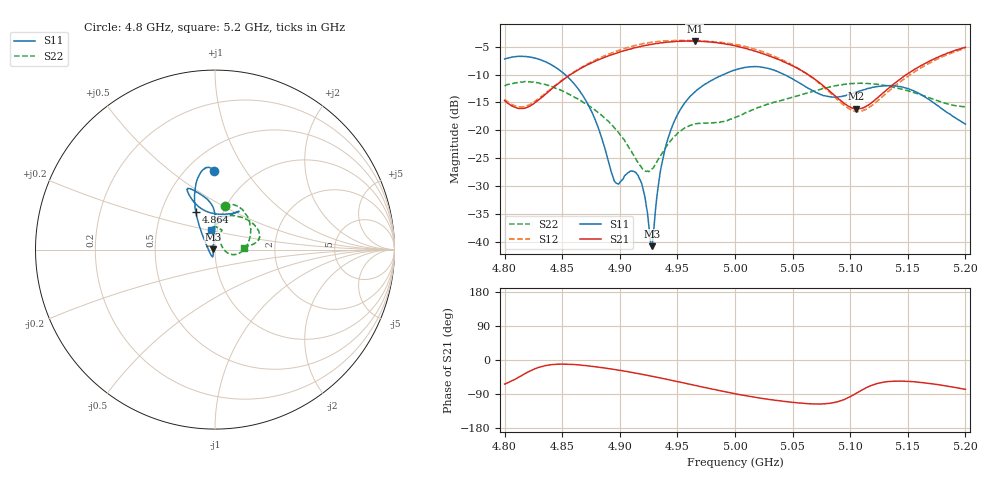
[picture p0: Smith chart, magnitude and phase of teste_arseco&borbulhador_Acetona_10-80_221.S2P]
! Network Analyzer HP8722D
! Hewlett-Packard
! Data name: Linha & Wilkinson
! Saver's name: Rodrigo Anjos
! Comments: Teste da utilização de aquisição
! continua pelo VNA HP8722D
! Time and date: 25/4/2025 17:06
!  Frequency  S11  S21  S12  S22
# HZ  S  MA R 50
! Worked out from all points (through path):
!   401 points, 4.8 GHz to 5.2 GHz, reference 50 ohm
!   highest |S21| = -3.99 dB at 4.965 GHz (marker M1); lowest = -16.1 dB at 5.105 GHz (marker M2)
!   lowest |S11| = -40.7 dB at 4.928 GHz (marker M3), VSWR 1.02, Z = 49.1 + j0.177 ohm
!   |S11| at or under -10 dB: 4.852 GHz to 4.99 GHz (137.5 MHz wide, 2.79 % of centre); 5.043 GHz to end of sweep
!   |S22| runs from -27.4 to -11.3 dB; largest |S21 - S12| = 1.2
!   S11 on the Smith chart (normalised r, x): 4.8 GHz: 0.67, +0.72; 4.864 GHz: 0.74, +0.33; 5.2 GHz: 0.93, +0.21
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4.8e9  0.4362 90.9  0.1849 -63.5  0.1897 69.9  0.2499 77.3
4.82e9  0.4544 97.2  0.1612 -32.1  0.1673 98.8  0.2721 61.6
4.845e9  0.3619 107.6  0.2553 -11.2  0.2588 119.4  0.2371 33.9
4.864e9  0.2349 117.0  0.3501 -12.7  0.3525 121.0  0.1895 12.1
4.867e9  0.2117 118.8  0.363 -13.8  0.3673 120.6  0.1824 8.7
4.88e9  0.1146 129.2  0.4231 -18.4  0.4327 118.2  0.148 -5.2
4.896e9  0.03448 -170.1  0.4863 -25.4  0.5056 113.1  0.1035 -15.5
4.91e9  0.04348 -110.1  0.5374 -32.4  0.5636 107.1  0.06517 -12.3
4.917e9  0.03697 -107.2  0.5612 -36.4  0.5872 103.5  0.04929 -0.1
4.921e9  0.02759 -112.1  0.5732 -38.8  0.6001 101.3  0.04417 13.5
4.928e9  0.009213 168.7  0.5897 -43.1  0.6162 97.0  0.04535 41.1
4.934e9  0.03554 101.9  0.6024 -46.9  0.6274 93.2  0.0563 57.6
4.939e9  0.06628 94.6  0.6123 -49.8  0.6328 90.0  0.06797 64.7
4.946e9  0.1122 90.6  0.6217 -54.4  0.6344 85.6  0.08551 69.2
4.965e9  0.2204 91.4  0.632 -67.0  0.6355 73.3  0.1145 70.7
5e9  0.3475 109.3  0.5714 -89.2  0.5906 50.7  0.1306 88.0
5.029e9  0.359 115.3  0.467 -103.8  0.4837 34.1  0.1718 85.6
5.067e9  0.228 105.6  0.2992 -115.9  0.2958 23.7  0.2228 57.0
5.105e9  0.2196 66.1  0.1561 -88.4  0.1481 54.7  0.2632 25.5
5.134e9  0.2519 58.0  0.2415 -56.6  0.227 88.8  0.248 12.3
5.17e9  0.1842 71.5  0.4225 -62.4  0.4058 84.4  0.194 6.9
5.2e9  0.1138 101.2  0.5554 -77.4  0.5428 70.2  0.1626 3.6
